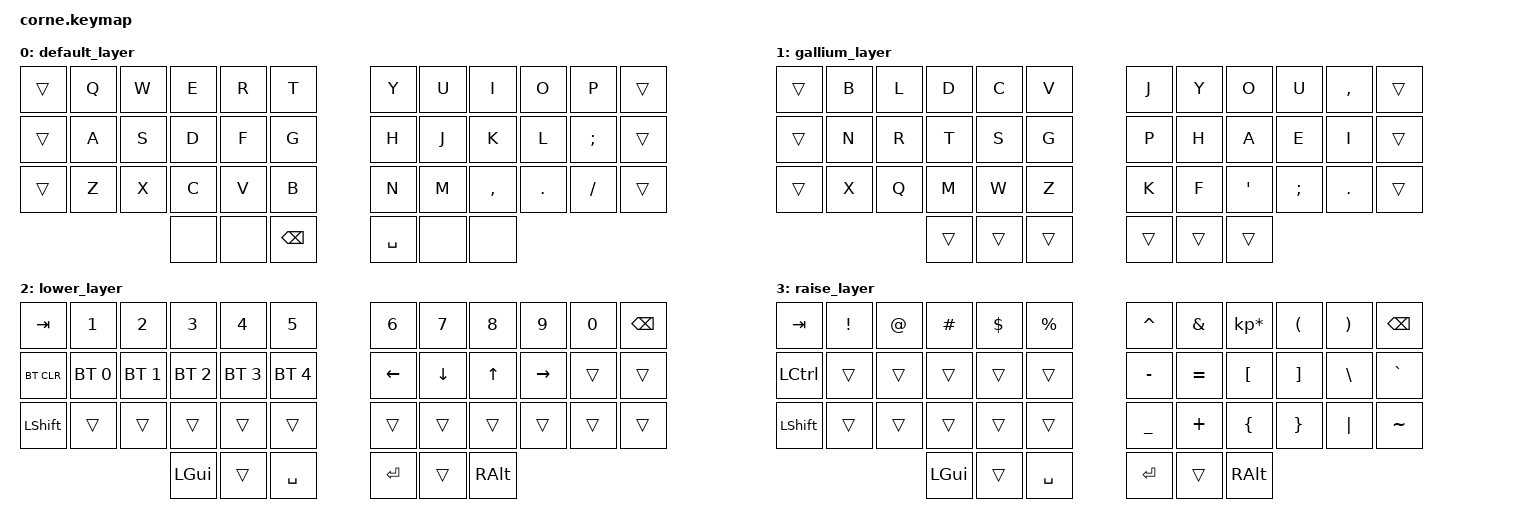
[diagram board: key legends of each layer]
/*
 * Copyright (c) 2020 The ZMK Contributors
 *
 * SPDX-License-Identifier: MIT
 */

#include <behaviors.dtsi>
#include <dt-bindings/zmk/bt.h>
#include <dt-bindings/zmk/keys.h>

/ {
    keymap {
        compatible = "zmk,keymap";

        default_layer {
            // -----------------------------------------------------------------------------------------
            // |  TAB |  Q  |  W  |  E  |  R  |  T  |   |  Y  |  U   |  I  |  O  |  P  | BKSP |
            // | CTRL |  A  |  S  |  D  |  F  |  G  |   |  H  |  J   |  K  |  L  |  ;  |  '   |
            // | SHFT |  Z  |  X  |  C  |  V  |  B  |   |  N  |  M   |  ,  |  .  |  /  | ESC  |
            //                    | GUI | LWR | SPC |   | ENT | RSE  | ALT |

            bindings = <
&trans  &kp Q  &kp W  &kp E  &kp R  &kp T            &kp Y      &kp U  &kp I      &kp O    &kp P     &trans
&trans  &kp A  &kp S  &kp D  &kp F  &kp G            &kp H      &kp J  &kp K      &kp L    &kp SEMI  &trans
&trans  &kp Z  &kp X  &kp C  &kp V  &kp B            &kp N      &kp M  &kp COMMA  &kp DOT  &kp FSLH  &trans
                      &none  &none  &kp BACKSPACE    &kp SPACE  &none  &none
            >;
        };

        gallium_layer {
            bindings = <
&trans  &kp B  &kp L  &kp D   &kp C   &kp V     &kp J   &kp Y   &kp O    &kp U     &kp COMMA  &trans
&trans  &kp N  &kp R  &kp T   &kp S   &kp G     &kp P   &kp H   &kp A    &kp E     &kp I      &trans
&trans  &kp X  &kp Q  &kp M   &kp W   &kp Z     &kp K   &kp F   &kp SQT  &kp SEMI  &kp DOT    &trans
                      &trans  &trans  &trans    &trans  &trans  &trans
            >;
        };

        lower_layer {
            // -----------------------------------------------------------------------------------------
            // |  TAB |  1  |  2  |  3  |  4  |  5  |   |  6  |  7  |  8  |  9  |  0  | BKSP |
            // | BTCLR| BT1 | BT2 | BT3 | BT4 | BT5 |   | LFT | DWN |  UP | RGT |     |      |
            // | SHFT |     |     |     |     |     |   |     |     |     |     |     |      |
            //                    | GUI |     | SPC |   | ENT |     | ALT |

            bindings = <
&kp TAB     &kp N1        &kp N2        &kp N3        &kp N4        &kp N5          &kp N6    &kp N7    &kp N8    &kp N9     &kp N0  &kp BSPC
&bt BT_CLR  &bt BT_SEL 0  &bt BT_SEL 1  &bt BT_SEL 2  &bt BT_SEL 3  &bt BT_SEL 4    &kp LEFT  &kp DOWN  &kp UP    &kp RIGHT  &trans  &trans
&kp LSHFT   &trans        &trans        &trans        &trans        &trans          &trans    &trans    &trans    &trans     &trans  &trans
                                        &kp LGUI      &trans        &kp SPACE       &kp RET   &trans    &kp RALT
            >;
        };

        raise_layer {
            // -----------------------------------------------------------------------------------------
            // |  TAB |  !  |  @  |  #  |  $  |  %  |   |  ^  |  &  |  *  |  (  |  )  | BKSP |
            // | CTRL |     |     |     |     |     |   |  -  |  =  |  [  |  ]  |  \  |  `   |
            // | SHFT |     |     |     |     |     |   |  _  |  +  |  {  |  }  | "|" |  ~   |
            //                    | GUI |     | SPC |   | ENT |     | ALT |

            bindings = <
&kp TAB    &kp EXCL  &kp AT  &kp HASH  &kp DLLR  &kp PRCNT    &kp CARET  &kp AMPS   &kp KP_MULTIPLY  &kp LPAR  &kp RPAR  &kp BSPC
&kp LCTRL  &trans    &trans  &trans    &trans    &trans       &kp MINUS  &kp EQUAL  &kp LBKT         &kp RBKT  &kp BSLH  &kp GRAVE
&kp LSHFT  &trans    &trans  &trans    &trans    &trans       &kp UNDER  &kp PLUS   &kp LBRC         &kp RBRC  &kp PIPE  &kp TILDE
                             &kp LGUI  &trans    &kp SPACE    &kp RET    &trans     &kp RALT
            >;
        };
    };
};
